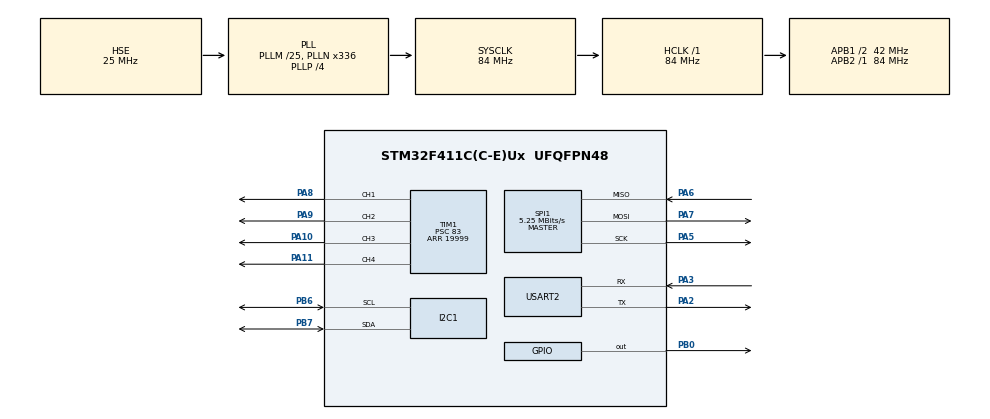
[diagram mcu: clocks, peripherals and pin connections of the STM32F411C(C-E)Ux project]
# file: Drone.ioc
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I2C1.I2C_Mode=I2C_Fast
Mcu.Family=STM32F4
Mcu.Name=STM32F411C(C-E)Ux
Mcu.Package=UFQFPN48
NVIC.PriorityGroup=NVIC_PRIORITYGROUP_4
NVIC.TIM2_IRQn=true\:0\:0\:false\:false\:true\:true\:true\:true
NVIC.TIM4_IRQn=true\:0\:0\:false\:false\:true\:true\:true\:true
NVIC.USART2_IRQn=true\:0\:0\:false\:false\:true\:true\:true\:true
PA10.Signal=S_TIM1_CH3
PA11.Signal=S_TIM1_CH4
PA2.Mode=Asynchronous
PA2.Signal=USART2_TX
PA3.Mode=Asynchronous
PA3.Signal=USART2_RX
PA5.Mode=Full_Duplex_Master
PA5.Signal=SPI1_SCK
PA6.Mode=Full_Duplex_Master
PA6.Signal=SPI1_MISO
PA7.Mode=Full_Duplex_Master
PA7.Signal=SPI1_MOSI
PA8.Signal=S_TIM1_CH1
PA9.Signal=S_TIM1_CH2
PB0.Signal=GPIO_Output
PB6.Mode=I2C
PB6.Signal=I2C1_SCL
PB7.Mode=I2C
PB7.Signal=I2C1_SDA
PH0\ -\ OSC_IN.Mode=HSE-External-Oscillator
PH0\ -\ OSC_IN.Signal=RCC_OSC_IN
PH1\ -\ OSC_OUT.Mode=HSE-External-Oscillator
PH1\ -\ OSC_OUT.Signal=RCC_OSC_OUT
ProjectManager.HeapSize=0x800
ProjectManager.StackSize=0x800
ProjectManager.TargetToolchain=CMake
RCC.48MHZClocksFreq_Value=84000000
RCC.AHBFreq_Value=84000000
RCC.APB1CLKDivider=RCC_HCLK_DIV2
RCC.APB1Freq_Value=42000000
RCC.APB1TimFreq_Value=84000000
RCC.APB2Freq_Value=84000000
RCC.APB2TimFreq_Value=84000000
RCC.CortexFreq_Value=84000000
RCC.HCLKFreq_Value=84000000
RCC.HSE_VALUE=25000000
RCC.HSI_VALUE=16000000
RCC.LSE_VALUE=32768
RCC.PLLM=25
RCC.PLLN=336
RCC.PLLP=RCC_PLLP_DIV4
RCC.PLLSourceVirtual=RCC_PLLSOURCE_HSE
RCC.SYSCLKFreq_VALUE=84000000
RCC.SYSCLKSource=RCC_SYSCLKSOURCE_PLLCLK
RCC.VCOOutputFreq_Value=336000000
SH.S_TIM1_CH1.0=TIM1_CH1,PWM Generation1 CH1
SH.S_TIM1_CH2.0=TIM1_CH2,PWM Generation2 CH2
SH.S_TIM1_CH3.0=TIM1_CH3,PWM Generation3 CH3
SH.S_TIM1_CH4.0=TIM1_CH4,PWM Generation4 CH4
SPI1.BaudRatePrescaler=SPI_BAUDRATEPRESCALER_16
SPI1.CLKPhase=SPI_PHASE_2EDGE
SPI1.CLKPolarity=SPI_POLARITY_HIGH
SPI1.CalculateBaudRate=5.25 MBits/s
SPI1.Direction=SPI_DIRECTION_2LINES
SPI1.Mode=SPI_MODE_MASTER
SPI1.VirtualType=VM_MASTER
TIM1.Channel-PWM\ Generation1\ CH1=TIM_CHANNEL_1
TIM1.Channel-PWM\ Generation2\ CH2=TIM_CHANNEL_2
TIM1.Channel-PWM\ Generation3\ CH3=TIM_CHANNEL_3
TIM1.Channel-PWM\ Generation4\ CH4=TIM_CHANNEL_4
TIM1.Period=19999
TIM1.Prescaler=83
TIM1.Pulse-PWM\ Generation1\ CH1=1000
TIM1.Pulse-PWM\ Generation2\ CH2=1000
TIM1.Pulse-PWM\ Generation3\ CH3=1000
TIM1.Pulse-PWM\ Generation4\ CH4=1000
TIM2.Period=999
TIM2.Prescaler=83
TIM3.Prescaler=83
TIM4.Period=1999
TIM4.Prescaler=83
USART2.VirtualMode=VM_ASYNC
VP_TIM2_VS_ClockSourceINT.Mode=Internal
VP_TIM3_VS_ClockSourceINT.Mode=Internal
VP_TIM4_VS_ClockSourceINT.Mode=Internal
board=custom

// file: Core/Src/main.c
/* USER CODE BEGIN Header */
/**
 ******************************************************************************
 * @file           : main.c
 * @brief          : Main program body
 ******************************************************************************
 * @attention
 *
 * Copyright (c) 2025 STMicroelectronics.
 * All rights reserved.
 *
 * This software is licensed under terms that can be found in the LICENSE file
 * in the root directory of this software component.
 * If no LICENSE file comes with this software, it is provided AS-IS.
 *
 ******************************************************************************
 */
/* USER CODE END Header */
#include "main.h"

/* USER CODE BEGIN Includes */
#include "scheduler.h"
#include "tasks.h"

/* USER CODE END Includes */

I2C_HandleTypeDef hi2c1;

SPI_HandleTypeDef hspi1;

TIM_HandleTypeDef htim1;
TIM_HandleTypeDef htim2;
TIM_HandleTypeDef htim3;
TIM_HandleTypeDef htim4;

UART_HandleTypeDef huart2;

/* USER CODE BEGIN PV */
float tempTest = 0.0f, humTest = 0.0f;
/* USER CODE END PV */

void        SystemClock_Config(void);
static void MX_GPIO_Init(void);
static void MX_I2C1_Init(void);
static void MX_TIM1_Init(void);
static void MX_USART2_UART_Init(void);
static void MX_TIM2_Init(void);
static void MX_TIM3_Init(void);
static void MX_TIM4_Init(void);
static void MX_SPI1_Init(void);

int main(void)
{

    /* MCU Configuration--------------------------------------------------------*/

    /* Reset of all peripherals, Initializes the Flash interface and the Systick. */
    HAL_Init();

    /* Configure the system clock */
    SystemClock_Config();

    /* Initialize all configured peripherals */
    MX_GPIO_Init();
    MX_I2C1_Init();
    MX_TIM1_Init();
    MX_USART2_UART_Init();
    MX_TIM2_Init();
    MX_TIM3_Init();
    MX_TIM4_Init();
    MX_SPI1_Init();
    /* USER CODE BEGIN 2 */
    HAL_TIM_Base_Start_IT(&htim2);
    HAL_TIM_Base_Start_IT(&htim4);
    UART2_Init_Receive_IT(&huart2); // Start UART reception in interrupt mode
    SCH_Init();                     // Initialize the scheduler
    DHT_Init();                     // Initialize DHT22 sensor
    /* USER CODE END 2 */

    /* Infinite loop */
    /* USER CODE BEGIN WHILE */

    // Add a task to process UART data if ready, executed delay of 100 ms, period of 10 ms
    SCH_Add_Task(UART2_Process_Data_If_Ready, 100, 10); // 100Hz (10ms/this task)

    // Add a task to process read DHT22 sensor
    SCH_Add_Task(DHT_Handle, 2000, 2500); // 2.5s/this task

    while (1)
    {
        /* USER CODE END WHILE */

        /* USER CODE BEGIN 3 */
        SCH_Dispatch_Tasks(); // Dispatch tasks
        tempTest = DHT_readTemperature();
        humTest  = DHT_readHumidity();
    }
    /* USER CODE END 3 */
}

void SystemClock_Config(void)
{
    RCC_OscInitTypeDef RCC_OscInitStruct = {0};
    RCC_ClkInitTypeDef RCC_ClkInitStruct = {0};

    /** Configure the main internal regulator output voltage
     */
    __HAL_RCC_PWR_CLK_ENABLE();
    __HAL_PWR_VOLTAGESCALING_CONFIG(PWR_REGULATOR_VOLTAGE_SCALE1);

    /** Initializes the RCC Oscillators according to the specified parameters
     * in the RCC_OscInitTypeDef structure.
     */
    RCC_OscInitStruct.OscillatorType = RCC_OSCILLATORTYPE_HSE;
    RCC_OscInitStruct.HSEState       = RCC_HSE_ON;
    RCC_OscInitStruct.PLL.PLLState   = RCC_PLL_ON;
    RCC_OscInitStruct.PLL.PLLSource  = RCC_PLLSOURCE_HSE;
    RCC_OscInitStruct.PLL.PLLM       = 25;
    RCC_OscInitStruct.PLL.PLLN       = 336;
    RCC_OscInitStruct.PLL.PLLP       = RCC_PLLP_DIV4;
    RCC_OscInitStruct.PLL.PLLQ       = 4;
    if (HAL_RCC_OscConfig(&RCC_OscInitStruct) != HAL_OK)
    {
        Error_Handler();
    }

    /** Initializes the CPU, AHB and APB buses clocks
     */
    RCC_ClkInitStruct.ClockType =
        RCC_CLOCKTYPE_HCLK | RCC_CLOCKTYPE_SYSCLK | RCC_CLOCKTYPE_PCLK1 | RCC_CLOCKTYPE_PCLK2;
    RCC_ClkInitStruct.SYSCLKSource   = RCC_SYSCLKSOURCE_PLLCLK;
    RCC_ClkInitStruct.AHBCLKDivider  = RCC_SYSCLK_DIV1;
    RCC_ClkInitStruct.APB1CLKDivider = RCC_HCLK_DIV2;
    RCC_ClkInitStruct.APB2CLKDivider = RCC_HCLK_DIV1;

    if (HAL_RCC_ClockConfig(&RCC_ClkInitStruct, FLASH_LATENCY_2) != HAL_OK)
    {
        Error_Handler();
    }
}

static void MX_I2C1_Init(void)
{

    hi2c1.Instance             = I2C1;
    hi2c1.Init.ClockSpeed      = 400000;
    hi2c1.Init.DutyCycle       = I2C_DUTYCYCLE_2;
    hi2c1.Init.OwnAddress1     = 0;
    hi2c1.Init.AddressingMode  = I2C_ADDRESSINGMODE_7BIT;
    hi2c1.Init.DualAddressMode = I2C_DUALADDRESS_DISABLE;
    hi2c1.Init.OwnAddress2     = 0;
    hi2c1.Init.GeneralCallMode = I2C_GENERALCALL_DISABLE;
    hi2c1.Init.NoStretchMode   = I2C_NOSTRETCH_DISABLE;
    if (HAL_I2C_Init(&hi2c1) != HAL_OK)
    {
        Error_Handler();
    }
}

static void MX_SPI1_Init(void)
{

    /* SPI1 parameter configuration*/
    hspi1.Instance               = SPI1;
    hspi1.Init.Mode              = SPI_MODE_MASTER;
    hspi1.Init.Direction         = SPI_DIRECTION_2LINES;
    hspi1.Init.DataSize          = SPI_DATASIZE_8BIT;
    hspi1.Init.CLKPolarity       = SPI_POLARITY_HIGH;
    hspi1.Init.CLKPhase          = SPI_PHASE_2EDGE;
    hspi1.Init.NSS               = SPI_NSS_SOFT;
    hspi1.Init.BaudRatePrescaler = SPI_BAUDRATEPRESCALER_16;
    hspi1.Init.FirstBit          = SPI_FIRSTBIT_MSB;
    hspi1.Init.TIMode            = SPI_TIMODE_DISABLE;
    hspi1.Init.CRCCalculation    = SPI_CRCCALCULATION_DISABLE;
    hspi1.Init.CRCPolynomial     = 10;
    if (HAL_SPI_Init(&hspi1) != HAL_OK)
    {
        Error_Handler();
    }
}

static void MX_TIM1_Init(void)
{

    TIM_MasterConfigTypeDef        sMasterConfig        = {0};
    TIM_OC_InitTypeDef             sConfigOC            = {0};
    TIM_BreakDeadTimeConfigTypeDef sBreakDeadTimeConfig = {0};

    htim1.Instance               = TIM1;
    htim1.Init.Prescaler         = 83;
    htim1.Init.CounterMode       = TIM_COUNTERMODE_UP;
    htim1.Init.Period            = 19999;
    htim1.Init.ClockDivision     = TIM_CLOCKDIVISION_DIV1;
    htim1.Init.RepetitionCounter = 0;
    htim1.Init.AutoReloadPreload = TIM_AUTORELOAD_PRELOAD_DISABLE;
    if (HAL_TIM_PWM_Init(&htim1) != HAL_OK)
    {
        Error_Handler();
    }
    sMasterConfig.MasterOutputTrigger = TIM_TRGO_RESET;
    sMasterConfig.MasterSlaveMode     = TIM_MASTERSLAVEMODE_DISABLE;
    if (HAL_TIMEx_MasterConfigSynchronization(&htim1, &sMasterConfig) != HAL_OK)
    {
        Error_Handler();
    }
    sConfigOC.OCMode       = TIM_OCMODE_PWM1;
    sConfigOC.Pulse        = 1000;
    sConfigOC.OCPolarity   = TIM_OCPOLARITY_HIGH;
    sConfigOC.OCNPolarity  = TIM_OCNPOLARITY_HIGH;
    sConfigOC.OCFastMode   = TIM_OCFAST_DISABLE;
    sConfigOC.OCIdleState  = TIM_OCIDLESTATE_RESET;
    sConfigOC.OCNIdleState = TIM_OCNIDLESTATE_RESET;
    if (HAL_TIM_PWM_ConfigChannel(&htim1, &sConfigOC, TIM_CHANNEL_1) != HAL_OK)
    {
        Error_Handler();
    }
    if (HAL_TIM_PWM_ConfigChannel(&htim1, &sConfigOC, TIM_CHANNEL_2) != HAL_OK)
    {
        Error_Handler();
    }
    if (HAL_TIM_PWM_ConfigChannel(&htim1, &sConfigOC, TIM_CHANNEL_3) != HAL_OK)
    {
        Error_Handler();
    }
    if (HAL_TIM_PWM_ConfigChannel(&htim1, &sConfigOC, TIM_CHANNEL_4) != HAL_OK)
    {
        Error_Handler();
    }
    sBreakDeadTimeConfig.OffStateRunMode  = TIM_OSSR_DISABLE;
    sBreakDeadTimeConfig.OffStateIDLEMode = TIM_OSSI_DISABLE;
    sBreakDeadTimeConfig.LockLevel        = TIM_LOCKLEVEL_OFF;
    sBreakDeadTimeConfig.DeadTime         = 0;
    sBreakDeadTimeConfig.BreakState       = TIM_BREAK_DISABLE;
    sBreakDeadTimeConfig.BreakPolarity    = TIM_BREAKPOLARITY_HIGH;
    sBreakDeadTimeConfig.AutomaticOutput  = TIM_AUTOMATICOUTPUT_DISABLE;
    if (HAL_TIMEx_ConfigBreakDeadTime(&htim1, &sBreakDeadTimeConfig) != HAL_OK)
    {
        Error_Handler();
    }
    HAL_TIM_MspPostInit(&htim1);
}

static void MX_TIM2_Init(void)
{

    TIM_ClockConfigTypeDef  sClockSourceConfig = {0};
    TIM_MasterConfigTypeDef sMasterConfig      = {0};

    htim2.Instance               = TIM2;
    htim2.Init.Prescaler         = 83;
    htim2.Init.CounterMode       = TIM_COUNTERMODE_UP;
    htim2.Init.Period            = 999;
    htim2.Init.ClockDivision     = TIM_CLOCKDIVISION_DIV1;
    htim2.Init.AutoReloadPreload = TIM_AUTORELOAD_PRELOAD_DISABLE;
    if (HAL_TIM_Base_Init(&htim2) != HAL_OK)
    {
        Error_Handler();
    }
    sClockSourceConfig.ClockSource = TIM_CLOCKSOURCE_INTERNAL;
    if (HAL_TIM_ConfigClockSource(&htim2, &sClockSourceConfig) != HAL_OK)
    {
        Error_Handler();
    }
    sMasterConfig.MasterOutputTrigger = TIM_TRGO_RESET;
    sMasterConfig.MasterSlaveMode     = TIM_MASTERSLAVEMODE_DISABLE;
    if (HAL_TIMEx_MasterConfigSynchronization(&htim2, &sMasterConfig) != HAL_OK)
    {
        Error_Handler();
    }
    /* USER CODE BEGIN TIM2_Init 2 */
    HAL_NVIC_SetPriority(TIM2_IRQn, 2, 0);
    HAL_NVIC_EnableIRQ(TIM2_IRQn);
    /* USER CODE END TIM2_Init 2 */
}

static void MX_TIM3_Init(void)
{

    TIM_ClockConfigTypeDef  sClockSourceConfig = {0};
    TIM_MasterConfigTypeDef sMasterConfig      = {0};

    htim3.Instance               = TIM3;
    htim3.Init.Prescaler         = 83;
    htim3.Init.CounterMode       = TIM_COUNTERMODE_UP;
    htim3.Init.Period            = 65535;
    htim3.Init.ClockDivision     = TIM_CLOCKDIVISION_DIV1;
    htim3.Init.AutoReloadPreload = TIM_AUTORELOAD_PRELOAD_DISABLE;
    if (HAL_TIM_Base_Init(&htim3) != HAL_OK)
    {
        Error_Handler();
    }
    sClockSourceConfig.ClockSource = TIM_CLOCKSOURCE_INTERNAL;
    if (HAL_TIM_ConfigClockSource(&htim3, &sClockSourceConfig) != HAL_OK)
    {
        Error_Handler();
    }
    sMasterConfig.MasterOutputTrigger = TIM_TRGO_RESET;
    sMasterConfig.MasterSlaveMode     = TIM_MASTERSLAVEMODE_DISABLE;
    if (HAL_TIMEx_MasterConfigSynchronization(&htim3, &sMasterConfig) != HAL_OK)
    {
        Error_Handler();
    }
}

static void MX_TIM4_Init(void)
{

    TIM_ClockConfigTypeDef  sClockSourceConfig = {0};
    TIM_MasterConfigTypeDef sMasterConfig      = {0};

    htim4.Instance               = TIM4;
    htim4.Init.Prescaler         = 83;
    htim4.Init.CounterMode       = TIM_COUNTERMODE_UP;
    htim4.Init.Period            = 1999;
    htim4.Init.ClockDivision     = TIM_CLOCKDIVISION_DIV1;
    htim4.Init.AutoReloadPreload = TIM_AUTORELOAD_PRELOAD_DISABLE;
    if (HAL_TIM_Base_Init(&htim4) != HAL_OK)
    {
        Error_Handler();
    }
    sClockSourceConfig.ClockSource = TIM_CLOCKSOURCE_INTERNAL;
    if (HAL_TIM_ConfigClockSource(&htim4, &sClockSourceConfig) != HAL_OK)
    {
        Error_Handler();
    }
    sMasterConfig.MasterOutputTrigger = TIM_TRGO_RESET;
    sMasterConfig.MasterSlaveMode     = TIM_MASTERSLAVEMODE_DISABLE;
    if (HAL_TIMEx_MasterConfigSynchronization(&htim4, &sMasterConfig) != HAL_OK)
    {
        Error_Handler();
    }
    /* USER CODE BEGIN TIM4_Init 2 */
    HAL_NVIC_SetPriority(TIM4_IRQn, 1, 0);
    HAL_NVIC_EnableIRQ(TIM4_IRQn);
    /* USER CODE END TIM4_Init 2 */
}

static void MX_USART2_UART_Init(void)
{

    huart2.Instance          = USART2;
    huart2.Init.BaudRate     = 115200;
    huart2.Init.WordLength   = UART_WORDLENGTH_8B;
    huart2.Init.StopBits     = UART_STOPBITS_1;
    huart2.Init.Parity       = UART_PARITY_NONE;
    huart2.Init.Mode         = UART_MODE_TX_RX;
    huart2.Init.HwFlowCtl    = UART_HWCONTROL_NONE;
    huart2.Init.OverSampling = UART_OVERSAMPLING_16;
    if (HAL_UART_Init(&huart2) != HAL_OK)
    {
        Error_Handler();
    }
    /* USER CODE BEGIN USART2_Init 2 */
    HAL_NVIC_SetPriority(USART2_IRQn, 0, 3); // Set USART2 interrupt priority
    HAL_NVIC_EnableIRQ(USART2_IRQn);         // Enable USART2 interrupt
                                             /* USER CODE END USART2_Init 2 */
}

static void MX_GPIO_Init(void)
{
    GPIO_InitTypeDef GPIO_InitStruct = {0};

    /* GPIO Ports Clock Enable */
    __HAL_RCC_GPIOH_CLK_ENABLE();
    __HAL_RCC_GPIOA_CLK_ENABLE();
    __HAL_RCC_GPIOB_CLK_ENABLE();

    /*Configure GPIO pin Output Level */
    HAL_GPIO_WritePin(GPIOB, GPIO_PIN_0, GPIO_PIN_RESET);

    /*Configure GPIO pin : PB0 */
    GPIO_InitStruct.Pin   = GPIO_PIN_0;
    GPIO_InitStruct.Mode  = GPIO_MODE_OUTPUT_PP;
    GPIO_InitStruct.Pull  = GPIO_NOPULL;
    GPIO_InitStruct.Speed = GPIO_SPEED_FREQ_LOW;
    HAL_GPIO_Init(GPIOB, &GPIO_InitStruct);

    /* USER CODE BEGIN MX_GPIO_Init_2 */
    __HAL_RCC_GPIOC_CLK_ENABLE();
    HAL_GPIO_WritePin(GPIOC, GPIO_PIN_13, GPIO_PIN_RESET);

    GPIO_InitStruct.Pin   = GPIO_PIN_13;
    GPIO_InitStruct.Mode  = GPIO_MODE_OUTPUT_PP; // Push-pull output
    GPIO_InitStruct.Pull  = GPIO_NOPULL;         // Không kéo lên/kéo xuống
    GPIO_InitStruct.Speed = GPIO_SPEED_FREQ_LOW; // Tốc độ thấp

    HAL_GPIO_Init(GPIOC, &GPIO_InitStruct);
    /* USER CODE END MX_GPIO_Init_2 */
}

/* USER CODE BEGIN 4 */

// delay_us function to create a delay in microseconds
void delay_us(uint32_t us)
{
    __HAL_TIM_SET_COUNTER(&htim3, 0); // Reset the timer counter
    HAL_TIM_Base_Start(&htim3);       // Start the timer
    while (__HAL_TIM_GET_COUNTER(&htim3) < us)
        ;                      // Wait until the timer counter reaches the desired delay
    HAL_TIM_Base_Stop(&htim3); // Stop the timer
}

// This function is called when the timer interrupt occurs
void HAL_TIM_PeriodElapsedCallback(TIM_HandleTypeDef *htim)
{
    if (htim->Instance == TIM2)
    {
        SCH_Update(); // Update the scheduler tick
    }
    if (htim->Instance == TIM4)
    {
        // PID_Loop(); // Call the PID loop function
    }
}

// This function is called when data is received over UART
void HAL_UART_RxCpltCallback(UART_HandleTypeDef *huart)
{
    if (huart->Instance == USART2)
    {
        UART2_Receive_Handler(rx_byte);                       // Handle the received byte
        HAL_UART_Receive_IT(&huart2, (uint8_t *)&rx_byte, 1); // Continue receiving data
    }
}
/* USER CODE END 4 */

void Error_Handler(void)
{
    __disable_irq();
    while (1)
    {
    }
}
